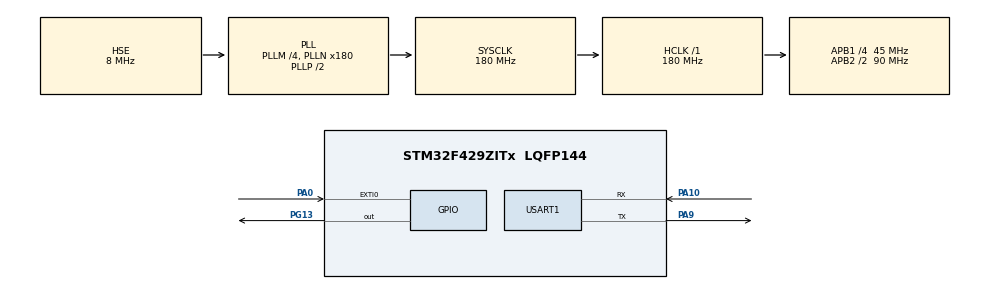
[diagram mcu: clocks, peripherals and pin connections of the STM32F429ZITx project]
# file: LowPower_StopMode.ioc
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Mcu.Family=STM32F4
Mcu.Name=STM32F429ZITx
Mcu.Package=LQFP144
NVIC.EXTI0_IRQn=true\:0\:0\:false\:false\:true\:true\:true\:true
NVIC.PriorityGroup=NVIC_PRIORITYGROUP_4
NVIC.RTC_WKUP_IRQn=true\:0\:0\:false\:false\:true\:true\:true\:true
NVIC.USART1_IRQn=true\:0\:0\:false\:false\:true\:true\:true\:false
PA0/WKUP.Signal=GPXTI0
PA10.Mode=Asynchronous
PA10.Signal=USART1_RX
PA9.Mode=Asynchronous
PA9.Signal=USART1_TX
PG13.GPIO_PuPd=GPIO_PULLUP
PG13.GPIO_Speed=GPIO_SPEED_FREQ_HIGH
PG13.PinState=GPIO_PIN_SET
PG13.Signal=GPIO_Output
PH0/OSC_IN.Mode=HSE-External-Oscillator
PH0/OSC_IN.Signal=RCC_OSC_IN
PH1/OSC_OUT.Mode=HSE-External-Oscillator
PH1/OSC_OUT.Signal=RCC_OSC_OUT
ProjectManager.HeapSize=0x200
ProjectManager.StackSize=0x400
ProjectManager.TargetToolchain=STM32CubeIDE
RCC.48MHZClocksFreq_Value=90000000
RCC.AHBFreq_Value=180000000
RCC.APB1CLKDivider=RCC_HCLK_DIV4
RCC.APB1Freq_Value=45000000
RCC.APB1TimFreq_Value=90000000
RCC.APB2CLKDivider=RCC_HCLK_DIV2
RCC.APB2Freq_Value=90000000
RCC.APB2TimFreq_Value=180000000
RCC.CortexFreq_Value=180000000
RCC.HCLKFreq_Value=180000000
RCC.HSE_VALUE=8000000
RCC.HSI_VALUE=16000000
RCC.PLLM=4
RCC.PLLN=180
RCC.PLLSourceVirtual=RCC_PLLSOURCE_HSE
RCC.SYSCLKFreq_VALUE=180000000
RCC.SYSCLKSource=RCC_SYSCLKSOURCE_PLLCLK
RCC.VCOOutputFreq_Value=360000000
USART1.VirtualMode=VM_ASYNC
VP_RTC_VS_RTC_Activate.Mode=RTC_Enabled
VP_RTC_VS_RTC_WakeUp_intern.Mode=WakeUp
board=custom

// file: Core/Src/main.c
/* USER CODE BEGIN Header */
/**
 ******************************************************************************
 * @file           : main.c
 * @brief          : Main program body
 ******************************************************************************
 * @attention
 *
 * Copyright (c) 2023 STMicroelectronics.
 * All rights reserved.
 *
 * This software is licensed under terms that can be found in the LICENSE file
 * in the root directory of this software component.
 * If no LICENSE file comes with this software, it is provided AS-IS.
 *
 ******************************************************************************
 */
/* USER CODE END Header */
#include "main.h"

/* USER CODE BEGIN Includes */
#include "stdio.h"
#include "string.h"
/* USER CODE END Includes */

RTC_HandleTypeDef hrtc;

UART_HandleTypeDef huart1;

/* USER CODE BEGIN PV */
char *str;
/* USER CODE END PV */

void SystemClock_Config(void);
static void MX_GPIO_Init(void);
static void MX_RTC_Init(void);
static void MX_USART1_UART_Init(void);

/* USER CODE BEGIN 0 */
void HAL_RTCEx_WakeUpTimerEventCallback(RTC_HandleTypeDef *hrtc) {
	SystemClock_Config();
	char *str = "WAKEUP FROM RTC\r\n NOW GOING IN STOP MODE AGAIN\r\n";
	HAL_UART_Transmit(&huart1, (uint8_t*) str, strlen(str), HAL_MAX_DELAY);

}

void HAL_GPIO_EXTI_Callback(uint16_t GPIO_Pin) {
	if (GPIO_Pin == GPIO_PIN_0) {
		SystemClock_Config();
		char *str = "WAKEUP FROM EXTII\r\n";
		HAL_UART_Transmit(&huart1, (uint8_t*) str, strlen(str), HAL_MAX_DELAY);
		HAL_PWR_DisableSleepOnExit();
	}
}
/* USER CODE END 0 */

int main(void) {

	/* MCU Configuration--------------------------------------------------------*/

	/* Reset of all peripherals, Initializes the Flash interface and the Systick. */
	HAL_Init();

	/* Configure the system clock */
	SystemClock_Config();

	/* Initialize all configured peripherals */
	MX_GPIO_Init();
	MX_RTC_Init();
	MX_USART1_UART_Init();
	/* USER CODE BEGIN 2 */
	HAL_RTCEx_SetWakeUpTimer_IT(&hrtc, 0x4E20, RTC_WAKEUPCLOCK_RTCCLK_DIV16);

	/* USER CODE END 2 */

	/* Infinite loop */
	/* USER CODE BEGIN WHILE */

	while (1) {
		str = "Entering into STOP MODE in 5 seconds\r\n";
		HAL_UART_Transmit(&huart1, (uint8_t*) str, strlen(str), HAL_MAX_DELAY);
		HAL_GPIO_WritePin(GPIOG, GPIO_PIN_13, GPIO_PIN_SET);

		HAL_Delay(5000);

		HAL_SuspendTick();

		HAL_PWR_EnableSleepOnExit();
		HAL_GPIO_WritePin(GPIOG, GPIO_PIN_13, GPIO_PIN_RESET);

		/* Enter Stop Mode */
		HAL_PWR_EnterSTOPMode(PWR_LOWPOWERREGULATOR_ON, PWR_STOPENTRY_WFI);

		HAL_ResumeTick();

		str = "WakeUP from STOP\r\n";
		HAL_UART_Transmit(&huart1, (uint8_t*) str, strlen(str), HAL_MAX_DELAY);

		for (int i = 0; i < 20; i++) {
			HAL_GPIO_TogglePin(GPIOG, GPIO_PIN_13);
			HAL_Delay(100);
		}

		/* USER CODE END WHILE */

	}
}

void SystemClock_Config(void) {
	RCC_OscInitTypeDef RCC_OscInitStruct = { 0 };
	RCC_ClkInitTypeDef RCC_ClkInitStruct = { 0 };

	/** Configure the main internal regulator output voltage
	 */
	__HAL_RCC_PWR_CLK_ENABLE();
	__HAL_PWR_VOLTAGESCALING_CONFIG(PWR_REGULATOR_VOLTAGE_SCALE1);

	/** Initializes the RCC Oscillators according to the specified parameters
	 * in the RCC_OscInitTypeDef structure.
	 */
	RCC_OscInitStruct.OscillatorType = RCC_OSCILLATORTYPE_LSI
			| RCC_OSCILLATORTYPE_HSE;
	RCC_OscInitStruct.HSEState = RCC_HSE_ON;
	RCC_OscInitStruct.LSIState = RCC_LSI_ON;
	RCC_OscInitStruct.PLL.PLLState = RCC_PLL_ON;
	RCC_OscInitStruct.PLL.PLLSource = RCC_PLLSOURCE_HSE;
	RCC_OscInitStruct.PLL.PLLM = 4;
	RCC_OscInitStruct.PLL.PLLN = 180;
	RCC_OscInitStruct.PLL.PLLP = RCC_PLLP_DIV2;
	RCC_OscInitStruct.PLL.PLLQ = 4;
	if (HAL_RCC_OscConfig(&RCC_OscInitStruct) != HAL_OK) {
		Error_Handler();
	}

	/** Activate the Over-Drive mode
	 */
	if (HAL_PWREx_EnableOverDrive() != HAL_OK) {
		Error_Handler();
	}

	/** Initializes the CPU, AHB and APB buses clocks
	 */
	RCC_ClkInitStruct.ClockType = RCC_CLOCKTYPE_HCLK | RCC_CLOCKTYPE_SYSCLK
			| RCC_CLOCKTYPE_PCLK1 | RCC_CLOCKTYPE_PCLK2;
	RCC_ClkInitStruct.SYSCLKSource = RCC_SYSCLKSOURCE_PLLCLK;
	RCC_ClkInitStruct.AHBCLKDivider = RCC_SYSCLK_DIV1;
	RCC_ClkInitStruct.APB1CLKDivider = RCC_HCLK_DIV4;
	RCC_ClkInitStruct.APB2CLKDivider = RCC_HCLK_DIV2;

	if (HAL_RCC_ClockConfig(&RCC_ClkInitStruct, FLASH_LATENCY_5) != HAL_OK) {
		Error_Handler();
	}
}

static void MX_RTC_Init(void) {

	RTC_TimeTypeDef sTime = { 0 };
	RTC_DateTypeDef sDate = { 0 };

	/** Initialize RTC Only
	 */
	hrtc.Instance = RTC;
	hrtc.Init.HourFormat = RTC_HOURFORMAT_24;
	hrtc.Init.AsynchPrediv = 127;
	hrtc.Init.SynchPrediv = 255;
	hrtc.Init.OutPut = RTC_OUTPUT_DISABLE;
	hrtc.Init.OutPutPolarity = RTC_OUTPUT_POLARITY_HIGH;
	hrtc.Init.OutPutType = RTC_OUTPUT_TYPE_OPENDRAIN;
	if (HAL_RTC_Init(&hrtc) != HAL_OK) {
		Error_Handler();
	}

	/** Initialize RTC and set the Time and Date
	 */
	sTime.Hours = 0x0;
	sTime.Minutes = 0x0;
	sTime.Seconds = 0x0;
	sTime.DayLightSaving = RTC_DAYLIGHTSAVING_NONE;
	sTime.StoreOperation = RTC_STOREOPERATION_RESET;
	if (HAL_RTC_SetTime(&hrtc, &sTime, RTC_FORMAT_BCD) != HAL_OK) {
		Error_Handler();
	}
	sDate.WeekDay = RTC_WEEKDAY_MONDAY;
	sDate.Month = RTC_MONTH_JANUARY;
	sDate.Date = 0x1;
	sDate.Year = 0x0;

	if (HAL_RTC_SetDate(&hrtc, &sDate, RTC_FORMAT_BCD) != HAL_OK) {
		Error_Handler();
	}

	/** Enable the WakeUp
	 */

	/*
	 __HAL_RTC_WAKEUPTIMER_CLEAR_FLAG(&hrtc, RTC_FLAG_WUTF);
	 if (HAL_RTCEx_SetWakeUpTimer_IT(&hrtc, 0, RTC_WAKEUPCLOCK_RTCCLK_DIV16) != HAL_OK)
	 {
	 Error_Handler();
	 }
	 */

}

static void MX_USART1_UART_Init(void) {

	huart1.Instance = USART1;
	huart1.Init.BaudRate = 115200;
	huart1.Init.WordLength = UART_WORDLENGTH_8B;
	huart1.Init.StopBits = UART_STOPBITS_1;
	huart1.Init.Parity = UART_PARITY_NONE;
	huart1.Init.Mode = UART_MODE_TX_RX;
	huart1.Init.HwFlowCtl = UART_HWCONTROL_NONE;
	huart1.Init.OverSampling = UART_OVERSAMPLING_16;
	if (HAL_UART_Init(&huart1) != HAL_OK) {
		Error_Handler();
	}

}

static void MX_GPIO_Init(void) {
	GPIO_InitTypeDef GPIO_InitStruct = { 0 };

	/* GPIO Ports Clock Enable */
	__HAL_RCC_GPIOH_CLK_ENABLE();
	__HAL_RCC_GPIOA_CLK_ENABLE();
	__HAL_RCC_GPIOG_CLK_ENABLE();

	/*Configure GPIO pin Output Level */
	HAL_GPIO_WritePin(GPIOG, GPIO_PIN_13, GPIO_PIN_RESET);

	/*Configure GPIO pin : PA0 */
	GPIO_InitStruct.Pin = GPIO_PIN_0;
	GPIO_InitStruct.Mode = GPIO_MODE_IT_RISING;
	GPIO_InitStruct.Pull = GPIO_NOPULL;
	HAL_GPIO_Init(GPIOA, &GPIO_InitStruct);

	/*Configure GPIO pin : PG13 */
	GPIO_InitStruct.Pin = GPIO_PIN_13;
	GPIO_InitStruct.Mode = GPIO_MODE_OUTPUT_PP;
	GPIO_InitStruct.Pull = GPIO_PULLUP;
	GPIO_InitStruct.Speed = GPIO_SPEED_FREQ_HIGH;
	HAL_GPIO_Init(GPIOG, &GPIO_InitStruct);

	/* EXTI interrupt init*/
	HAL_NVIC_SetPriority(EXTI0_IRQn, 0, 0);
	HAL_NVIC_EnableIRQ(EXTI0_IRQn);

}

void Error_Handler(void) {
	__disable_irq();
	while (1) {
	}
}
